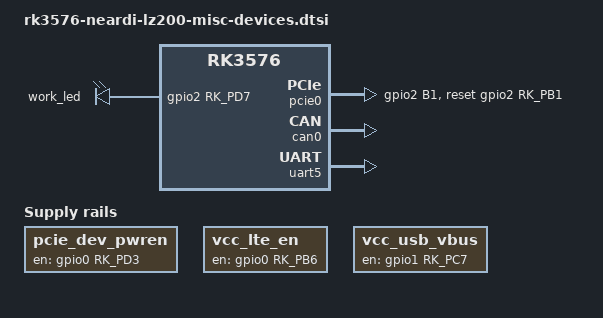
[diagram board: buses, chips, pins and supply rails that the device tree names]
/* pcie */
&pcie0 {
	reset-gpios = <&gpio2 RK_PB1 GPIO_ACTIVE_HIGH>;
	rockchip,skip-scan-in-resume;
	pinctrl-name = "default";
	pinctrl-0 = <&pcie_rst>;
	status = "okay";
};
/* pcie device power enable */
&{/} {
	pcie_dev_pwren: pcie_dev_pwren {
		compatible = "regulator-fixed";
		regulator-name = "Pcie_Pwren";
		regulator-boot-on;
		enable-active-high;
		regulator-always-on;
		gpio = <&gpio0 RK_PD3 GPIO_ACTIVE_HIGH>;
		pinctrl-names = "default";
		pinctrl-0 = <&pwren_pcie>;
	};
};
/* 4G power */
&{/} {
	vcc_lte_en: vcc_lte_en {
		compatible = "regulator-fixed";
		regulator-name = "Lte_Pwren";
		regulator-boot-on;
		enable-active-high;
		regulator-always-on;
		gpio = <&gpio0 RK_PB6 GPIO_ACTIVE_HIGH>;
		pinctrl-names = "default";
		pinctrl-0 = <&pwren_lte>;
	};
};
/* can */
&can0 {
	assigned-clocks = <&cru CLK_CAN0>;
	assigned-clock-rates = <200000000>;
	pinctrl-names = "default";
	pinctrl-0 = <&can0m0_pins>;
	status = "okay";
};
/* 485 */
&uart5 {
	status = "okay";
	pinctrl-names = "default";
	pinctrl-0 = <&uart5m2_xfer>;
};
/* led */
&{/} {
	leds: leds {
		compatible = "gpio-leds";
		work_led: work {
			gpios = <&gpio2 RK_PD7 GPIO_ACTIVE_HIGH>;
			linux,default-trigger = "heartbeat";
		};
	};
};
/* usb type-A vbus */
&{/} {
	vcc_usb_vbus: vcc_usb_vbus {
		compatible = "regulator-fixed";
		regulator-name = "vbus_Pwren";
		regulator-boot-on;
		enable-active-high;
		regulator-always-on;
		gpio = <&gpio1 RK_PC7 GPIO_ACTIVE_HIGH>;
		pinctrl-names = "default";
		pinctrl-0 = <&pwren_vbus>;
	};
};

&gt1x {
	status = "disabled";
};

&uart4 {
	pinctrl-0 = <&uart4m1_xfer &uart4m1_ctsn &uart4m1_rtsn>;
};

&pinctrl {
	lte {
		pwren_lte: pwren_lte {
			rockchip,pins = <0 RK_PB6 RK_FUNC_GPIO &pcfg_pull_none>;
		};
	};

	pcie {
		pcie_rst: pcie_rst {
			rockchip,pins = <2 RK_PB1 RK_FUNC_GPIO &pcfg_pull_none>;
		};

		pwren_pcie: pwren_pcie {
			rockchip,pins = <0 RK_PD3 RK_FUNC_GPIO &pcfg_pull_none>;
		};
	};

	usb {
		pwren_vbus: pwren_vbus {
			rockchip,pins = <1 RK_PC7 RK_FUNC_GPIO &pcfg_pull_none>;
		};
	};
};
